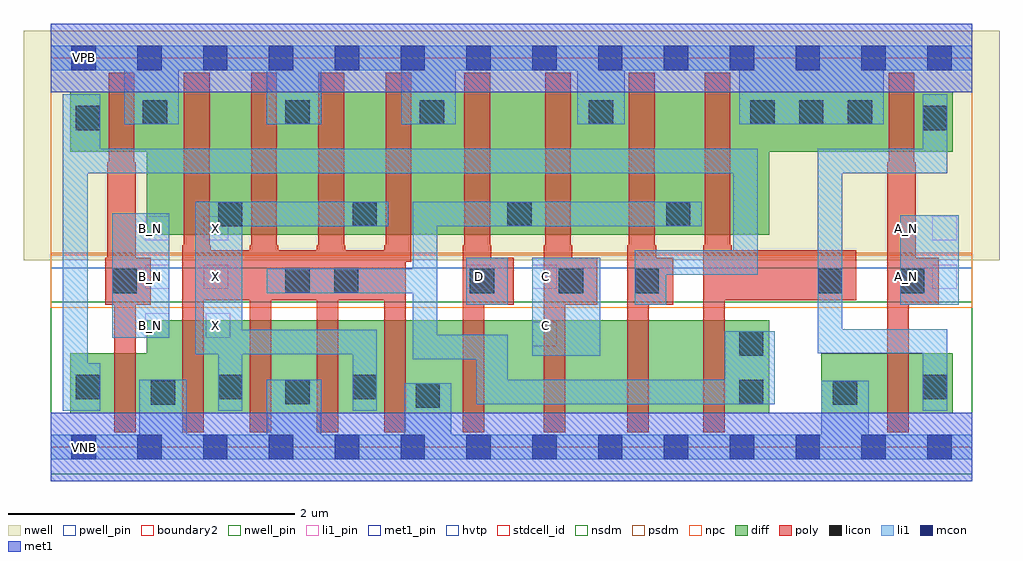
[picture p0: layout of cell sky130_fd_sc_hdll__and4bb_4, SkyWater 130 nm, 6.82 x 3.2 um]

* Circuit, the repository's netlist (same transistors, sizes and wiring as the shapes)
* Copyright 2020 The SkyWater PDK Authors
*
* Licensed under the Apache License, Version 2.0 (the "License");
* you may not use this file except in compliance with the License.
* You may obtain a copy of the License at
*
*     https://www.apache.org/licenses/LICENSE-2.0
*
* Unless required by applicable law or agreed to in writing, software
* distributed under the License is distributed on an "AS IS" BASIS,
* WITHOUT WARRANTIES OR CONDITIONS OF ANY KIND, either express or implied.
* See the License for the specific language governing permissions and
* limitations under the License.
*
* SPDX-License-Identifier: Apache-2.0

.SUBCKT sky130_fd_sc_hdll__and4bb_4 A_N B_N C D VGND VNB VPB VPWR X
*.PININFO A_N:I B_N:I C:I D:I VGND:I VNB:I VPB:I VPWR:I X:O
MMP0 y A VPWR VPB sky130_fd_pr__pfet_01v8_hvt m=1 w=1.0U l=0.18U mult=1 sa=0.265
+ sb=0.265 sd=0.28 area=0.063 perim=1.14
MMP1 y B VPWR VPB sky130_fd_pr__pfet_01v8_hvt m=1 w=1.0U l=0.18U mult=1 sa=0.265
+ sb=0.265 sd=0.28 area=0.063 perim=1.14
MMP2 y C VPWR VPB sky130_fd_pr__pfet_01v8_hvt m=1 w=1.0U l=0.18U mult=1 sa=0.265
+ sb=0.265 sd=0.28 area=0.063 perim=1.14
MMP3 y D VPWR VPB sky130_fd_pr__pfet_01v8_hvt m=1 w=1.0U l=0.18U mult=1 sa=0.265
+ sb=0.265 sd=0.28 area=0.063 perim=1.14
MMIP0 A A_N VPWR VPB sky130_fd_pr__pfet_01v8_hvt m=1 w=0.42U l=0.18U mult=1 sa=0.265
+ sb=0.265 sd=0.28 area=0.063 perim=1.14
MMIP1 B B_N VPWR VPB sky130_fd_pr__pfet_01v8_hvt m=1 w=0.42U l=0.18U mult=1 sa=0.265
+ sb=0.265 sd=0.28 area=0.063 perim=1.14
MMIP2 X y VPWR VPB sky130_fd_pr__pfet_01v8_hvt m=4 w=1.0U l=0.18U mult=1 sa=0.265
+ sb=0.265 sd=0.28 area=0.063 perim=1.14
MMN0 y A sndA VNB sky130_fd_pr__nfet_01v8 m=1 w=0.65U l=0.15U mult=1 sa=0.265 sb=0.265
+ sd=0.28 area=0.063 perim=1.14
MMN1 sndA B sndB VNB sky130_fd_pr__nfet_01v8 m=1 w=0.65U l=0.15U mult=1 sa=0.265
+ sb=0.265 sd=0.28 area=0.063 perim=1.14
MMN2 sndB C sndC VNB sky130_fd_pr__nfet_01v8 m=1 w=0.65U l=0.15U mult=1 sa=0.265
+ sb=0.265 sd=0.28 area=0.063 perim=1.14
MMN3 sndC D VGND VNB sky130_fd_pr__nfet_01v8 m=1 w=0.65U l=0.15U mult=1 sa=0.265
+ sb=0.265 sd=0.28 area=0.063 perim=1.14
MMIN0 A A_N VGND VNB sky130_fd_pr__nfet_01v8 m=1 w=0.42U l=0.15U mult=1 sa=0.265
+ sb=0.265 sd=0.28 area=0.063 perim=1.14
MMIN1 B B_N VGND VNB sky130_fd_pr__nfet_01v8 m=1 w=0.42U l=0.15U mult=1 sa=0.265
+ sb=0.265 sd=0.28 area=0.063 perim=1.14
MMIN2 X y VGND VNB sky130_fd_pr__nfet_01v8 m=4 w=0.65U l=0.15U mult=1 sa=0.265
+ sb=0.265 sd=0.28 area=0.063 perim=1.14
.ENDS sky130_fd_sc_hdll__and4bb_4

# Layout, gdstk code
import gdstk
lib = gdstk.Library(unit=1e-6, precision=1e-09)
def R(c, l, rs):  # rectangles x0, y0, x1, y1
    for r in rs: c.add(gdstk.rectangle(r[:2], r[2:], *l))
def A(c, l, x, y, w, h, nx, ny, dx, dy):  # array of equal rectangles
    R(c, l, [(x+i*dx, y+j*dy, x+i*dx+w, y+j*dy+h) for i in range(nx) for j in range(ny)])
def P(c, l, *ps):  # polygons
    for p in ps: c.add(gdstk.Polygon(p, *l))
nwell_pin = (64, 16)
nwell = (64, 20)
diff = (65, 20)
poly = (66, 20)
licon = (66, 44)
li1_pin = (67, 16)
li1 = (67, 20)
mcon = (67, 44)
met1_pin = (68, 16)
met1 = (68, 20)
hvtp = (78, 44)
stdcell_id = (81, 4)
nsdm = (93, 44)
psdm = (94, 20)
npc = (95, 20)
pwell_pin = (122, 16)
boundary2 = (236, 0)

sky130_fd_sc_hdll__and4b = lib.new_cell('sky130_fd_sc_hdll__and4bb_4')
R(sky130_fd_sc_hdll__and4b, nwell_pin, [(0.15,2.635,0.32,2.805)])
R(sky130_fd_sc_hdll__and4b, nwell, [(-0.19,1.305,6.63,2.91)])
R(sky130_fd_sc_hdll__and4b, diff, [(5.385,0.235,6.305,0.655)])
P(sky130_fd_sc_hdll__and4b, diff, [(6.305,2.485),(0.135,2.485),(0.135,2.065),(0.67,2.065),(0.67,1.485),(5.02,1.485),(5.02,2.065),(6.305,2.065)],
  [(5.02,0.885),(0.67,0.885),(0.67,0.655),(0.135,0.655),(0.135,0.235),(5.02,0.235)])
P(sky130_fd_sc_hdll__and4b, poly, [(0.7,1.325),(0.595,1.325),(0.595,1.99),(0.585,1.99),(0.585,2.615),(0.405,2.615),(0.405,1.99),(0.395,1.99),(0.395,1.325),(0.38,1.325),(0.38,0.995),(0.445,0.995),(0.445,0.105),(0.595,0.105),(0.595,0.995),(0.7,0.995)],
  [(2.52,2.615),(2.34,2.615),(2.34,1.41),(2.33,1.41),(2.33,1.375),(2.06,1.375),(2.06,1.41),(2.05,1.41),(2.05,2.615),(1.87,2.615),(1.87,1.41),(1.86,1.41),(1.86,1.375),(1.59,1.375),(1.59,1.41),(1.58,1.41),(1.58,2.615),(1.4,2.615),(1.4,1.41),(1.39,1.41),(1.39,1.375),(1.12,1.375),(1.12,1.41),(1.11,1.41),(1.11,2.615),(0.93,2.615),(0.93,1.41),(0.92,1.41),(0.92,0.105),(1.07,0.105),(1.07,1.025),(1.39,1.025),(1.39,0.105),(1.54,0.105),(1.54,1.025),(1.86,1.025),(1.86,0.105),(2.01,0.105),(2.01,1.025),(2.33,1.025),(2.33,0.105),(2.48,0.105),(2.48,1.295),(2.52,1.295)],
  [(3.235,1.325),(3.08,1.325),(3.08,1.41),(3.07,1.41),(3.07,2.615),(2.89,2.615),(2.89,1.41),(2.88,1.41),(2.88,0.105),(3.03,0.105),(3.03,0.995),(3.235,0.995)],
  [(3.82,1.325),(3.645,1.325),(3.645,1.41),(3.635,1.41),(3.635,2.615),(3.455,2.615),(3.455,1.41),(3.445,1.41),(3.445,0.105),(3.595,0.105),(3.595,0.995),(3.82,0.995)],
  [(4.35,1.325),(4.23,1.325),(4.23,1.41),(4.22,1.41),(4.22,2.615),(4.04,2.615),(4.04,1.41),(4.03,1.41),(4.03,0.105),(4.18,0.105),(4.18,0.995),(4.35,0.995)],
  [(5.63,1.375),(4.76,1.375),(4.76,1.41),(4.75,1.41),(4.75,2.615),(4.57,2.615),(4.57,1.41),(4.56,1.41),(4.56,0.105),(4.71,0.105),(4.71,1.025),(5.63,1.025)],
  [(6.205,1.325),(6.045,1.325),(6.045,1.99),(6.035,1.99),(6.035,2.615),(5.855,2.615),(5.855,1.99),(5.845,1.99),(5.845,0.105),(5.995,0.105),(5.995,0.995),(6.205,0.995)])
A(sky130_fd_sc_hdll__and4b, licon, 4.89, 2.255, 0.17, 0.17, 3, 1, 0.34, 0)
R(sky130_fd_sc_hdll__and4b, licon, [(2.55,0.275,2.72,0.445), (0.7,0.295,0.87,0.465), (5.465,0.295,5.635,0.465), (1.64,0.3,1.81,0.47), (4.81,0.3,4.98,0.47), (0.175,0.335,0.345,0.505), (1.17,0.335,1.34,0.505), (2.11,0.335,2.28,0.505), (6.095,0.335,6.265,0.505), (4.81,0.64,4.98,0.81), (0.43,1.075,0.6,1.245), (1.64,1.075,1.81,1.245), (1.98,1.075,2.15,1.245), (2.93,1.075,3.1,1.245), (3.55,1.075,3.72,1.245), (4.08,1.075,4.25,1.245), (5.36,1.075,5.53,1.245), (5.935,1.075,6.105,1.245), (1.17,1.545,1.34,1.715), (2.11,1.545,2.28,1.715), (3.19,1.545,3.36,1.715), (4.3,1.545,4.47,1.715), (0.175,2.215,0.345,2.385), (6.095,2.215,6.265,2.385), (0.645,2.255,0.815,2.425), (1.64,2.255,1.81,2.425), (2.58,2.255,2.75,2.425), (3.76,2.255,3.93,2.425)])
A(sky130_fd_sc_hdll__and4b, li1_pin, 0.66, 0.765, 0.17, 0.17, 1, 3, 0, 0.34)
R(sky130_fd_sc_hdll__and4b, li1_pin, [(3.365,0.705,3.535,0.875), (1.085,0.765,1.255,0.935), (1.07,1.105,1.24,1.275), (2.905,1.105,3.075,1.275), (3.365,1.105,3.535,1.275), (6.16,1.105,6.33,1.275), (1.07,1.445,1.24,1.615), (6.16,1.445,6.33,1.615)])
R(sky130_fd_sc_hdll__and4b, li1, [(3.365,0.64,3.84,1.325), (0.43,0.765,0.83,1.635), (2.905,0.995,3.195,1.325), (5.935,0.995,6.345,1.62)])
P(sky130_fd_sc_hdll__and4b, li1, [(6.44,0.085),(5.715,0.085),(5.715,0.465),(5.385,0.465),(5.385,0.085),(2.8,0.085),(2.8,0.445),(2.47,0.445),(2.47,0.085),(1.89,0.085),(1.89,0.47),(1.51,0.47),(1.51,0.085),(0.95,0.085),(0.95,0.47),(0.62,0.47),(0.62,0.085),(0,0.085),(0,-0.085),(6.44,-0.085)],
  [(6.44,2.805),(0,2.805),(0,2.635),(0.515,2.635),(0.515,2.255),(0.895,2.255),(0.895,2.635),(1.51,2.635),(1.51,2.255),(1.89,2.255),(1.89,2.635),(2.45,2.635),(2.45,2.255),(2.83,2.255),(2.83,2.635),(3.68,2.635),(3.68,2.255),(4.01,2.255),(4.01,2.635),(4.81,2.635),(4.81,2.255),(5.82,2.255),(5.82,2.635),(6.44,2.635)],
  [(2.36,1.715),(1.01,1.715),(1.01,0.65),(1.17,0.65),(1.17,0.255),(1.34,0.255),(1.34,0.65),(2.11,0.65),(2.11,0.255),(2.28,0.255),(2.28,0.82),(1.34,0.82),(1.34,1.545),(2.36,1.545)],
  [(6.265,0.825),(5.53,0.825),(5.53,1.915),(6.265,1.915),(6.265,2.465),(6.095,2.465),(6.095,2.085),(5.36,2.085),(5.36,0.655),(6.095,0.655),(6.095,0.255),(6.265,0.255)],
  [(5.06,0.81),(4.71,0.81),(4.71,0.47),(3.195,0.47),(3.195,0.785),(2.7,0.785),(2.7,1.545),(4.55,1.545),(4.55,1.715),(2.53,1.715),(2.53,1.245),(1.51,1.245),(1.51,1.075),(2.53,1.075),(2.53,0.615),(2.975,0.615),(2.975,0.3),(5.06,0.3)],
  [(4.94,2.085),(0.345,2.085),(0.345,2.465),(0.085,2.465),(0.085,0.255),(0.345,0.255),(0.345,0.585),(0.26,0.585),(0.26,1.915),(4.77,1.915),(4.77,1.375),(4.08,1.375),(4.08,0.995),(4.3,0.995),(4.3,1.205),(4.94,1.205)])
A(sky130_fd_sc_hdll__and4b, mcon, 0.145, -0.085, 0.17, 0.17, 14, 2, 0.46, 2.72)
R(sky130_fd_sc_hdll__and4b, met1_pin, [(0.15,-0.085,0.32,0.085), (0.15,2.635,0.32,2.805)])
R(sky130_fd_sc_hdll__and4b, met1, [(0,-0.24,6.44,0.24), (0,2.48,6.44,2.96)])
R(sky130_fd_sc_hdll__and4b, hvtp, [(0,1.25,6.44,2.72)])
R(sky130_fd_sc_hdll__and4b, stdcell_id, [(0,0,6.44,2.72)])
R(sky130_fd_sc_hdll__and4b, nsdm, [(0,-0.19,6.44,1.015)])
R(sky130_fd_sc_hdll__and4b, psdm, [(0,1.355,6.44,2.91)])
R(sky130_fd_sc_hdll__and4b, npc, [(0,0.975,6.44,1.345)])
R(sky130_fd_sc_hdll__and4b, pwell_pin, [(0.15,-0.085,0.32,0.085)])
R(sky130_fd_sc_hdll__and4b, boundary2, [(0,0,6.44,2.72)])
sky130_fd_sc_hdll__and4b.add(gdstk.Label('C', (3.455,1.19), layer=67, texttype=5))
sky130_fd_sc_hdll__and4b.add(gdstk.Label('C', (3.455,0.85), layer=67, texttype=5))
sky130_fd_sc_hdll__and4b.add(gdstk.Label('A_N', (5.98,1.53), layer=67, texttype=5))
sky130_fd_sc_hdll__and4b.add(gdstk.Label('A_N', (5.98,1.19), layer=67, texttype=5))
sky130_fd_sc_hdll__and4b.add(gdstk.Label('D', (2.995,1.19), layer=67, texttype=5))
sky130_fd_sc_hdll__and4b.add(gdstk.Label('X', (1.155,1.19), layer=67, texttype=5))
sky130_fd_sc_hdll__and4b.add(gdstk.Label('X', (1.155,1.53), layer=67, texttype=5))
sky130_fd_sc_hdll__and4b.add(gdstk.Label('B_N', (0.695,0.85), layer=67, texttype=5))
sky130_fd_sc_hdll__and4b.add(gdstk.Label('B_N', (0.695,1.53), layer=67, texttype=5))
sky130_fd_sc_hdll__and4b.add(gdstk.Label('X', (1.155,0.85), layer=67, texttype=5))
sky130_fd_sc_hdll__and4b.add(gdstk.Label('B_N', (0.695,1.19), layer=67, texttype=5))
sky130_fd_sc_hdll__and4b.add(gdstk.Label('VNB', (0.235,0), layer=64, texttype=59))
sky130_fd_sc_hdll__and4b.add(gdstk.Label('VPB', (0.235,2.72), layer=64, texttype=5))
sky130_fd_sc_hdll__and4b.add(gdstk.Label('VGND', (0.23,0), layer=68, texttype=5))
sky130_fd_sc_hdll__and4b.add(gdstk.Label('VPWR', (0.23,2.72), layer=68, texttype=5))
sky130_fd_sc_hdll__and4b.add(gdstk.Label('and4bb_4', (0,0), layer=83, texttype=44))

lib.write_gds('sky130_fd_sc_hdll__and4bb_4.gds')
